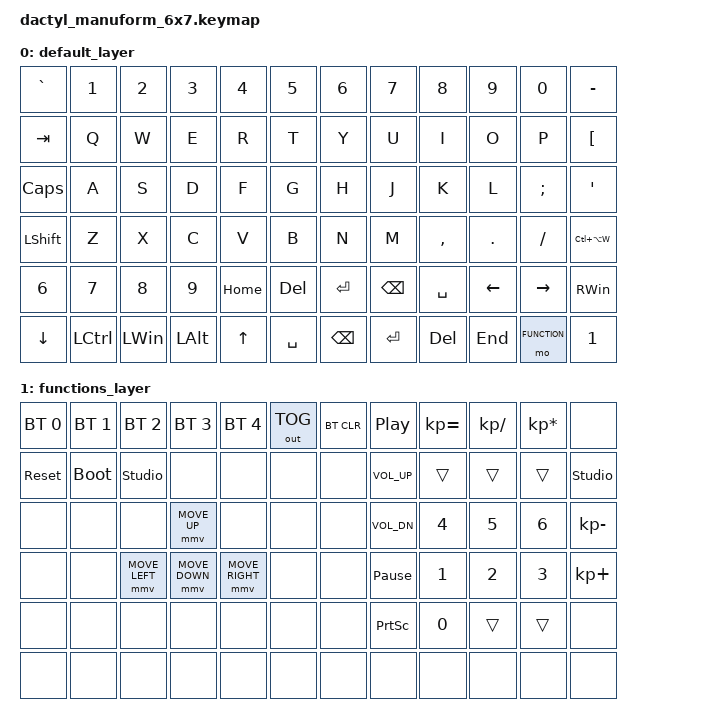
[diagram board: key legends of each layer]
/*
 * Copyright (c) 2020 The ZMK Contributors
 *
 * SPDX-License-Identifier: MIT
 */

#define ZMK_POINTING_DEFAULT_MOVE_VAL 1500  // default: 600
#define ZMK_POINTING_DEFAULT_SCRL_VAL 20    // default: 10

#include <dt-bindings/zmk/pointing.h>
#include <behaviors.dtsi>
#include <dt-bindings/zmk/keys.h>
#include <dt-bindings/zmk/bt.h>
#include <dt-bindings/zmk/outputs.h>


#define DEFAULT 0
#define FUNCTION 1

/ {
	keymap {
		compatible = "zmk,keymap";

		default_layer {
			bindings = <			
			&kp GRAVE  &kp N1     &kp N2    &kp N3    &kp N4    &kp N5            &kp N6     &kp N7     &kp N8     &kp N9    &kp N0        &kp MINUS      
			&kp TAB    &kp Q      &kp W     &kp E     &kp R     &kp T             &kp Y      &kp U      &kp I      &kp O     &kp P         &kp LBKT        
			&kp CAPS   &kp A      &kp S     &kp D     &kp F     &kp G             &kp H      &kp J      &kp K      &kp L     &kp SEMI      &kp APOS        
            &kp LSHFT  &kp Z      &kp X     &kp C     &kp V     &kp B             &kp N      &kp M      &kp COMMA  &kp DOT   &kp SLASH     &kp LC(LA(W))   
			&kp N6     &kp N7     &kp N8    &kp N9    &kp HOME  &kp DEL           &kp ENTER  &kp BSPC   &kp SPACE  &kp LEFT  &kp RIGHT     &kp RWIN       
			&kp DOWN   &kp LCTRL  &kp LWIN  &kp LALT  &kp UP    &kp SPACE         &kp BSPC   &kp ENTER  &kp DEL    &kp END   &mo FUNCTION  &kp N1            
			>;
		};
		
		functions_layer {
			bindings = <
			&bt BT_SEL 0  &bt BT_SEL 1  &bt BT_SEL 2    &bt BT_SEL 3    &bt BT_SEL 4     &out OUT_TOG        &bt BT_CLR	 &kp C_PP         &kp KP_EQUAL  &kp KP_SLASH  &kp KP_MULTIPLY  &none         
			&sys_reset    &bootloader   &studio_unlock  &none           &none            &none               &none       &kp C_VOL_UP     &trans        &trans        &trans           &studio_unlock
			&none         &none         &none           &mmv MOVE_UP    &none            &none               &none       &kp C_VOL_DN     &kp N4        &kp N5        &kp N6           &kp KP_MINUS   
			&none  	      &none         &mmv MOVE_LEFT  &mmv MOVE_DOWN  &mmv MOVE_RIGHT  &none               &none       &kp PAUSE_BREAK  &kp N1        &kp N2        &kp N3           &kp KP_PLUS    
            &none         &none         &none           &none           &none            &none               &none       &kp PSCRN        &kp N0        &trans        &trans           &none   	      
			&none         &none         &none           &none           &none            &none               &none       &none            &none         &none         &none            &none          
			     
			>;
		};
	};

	
};

/ {
    bt-cosmo {
        compatible = "zmk,bluetooth";
        local-name = "LoPro Cosmos";
    };
};
